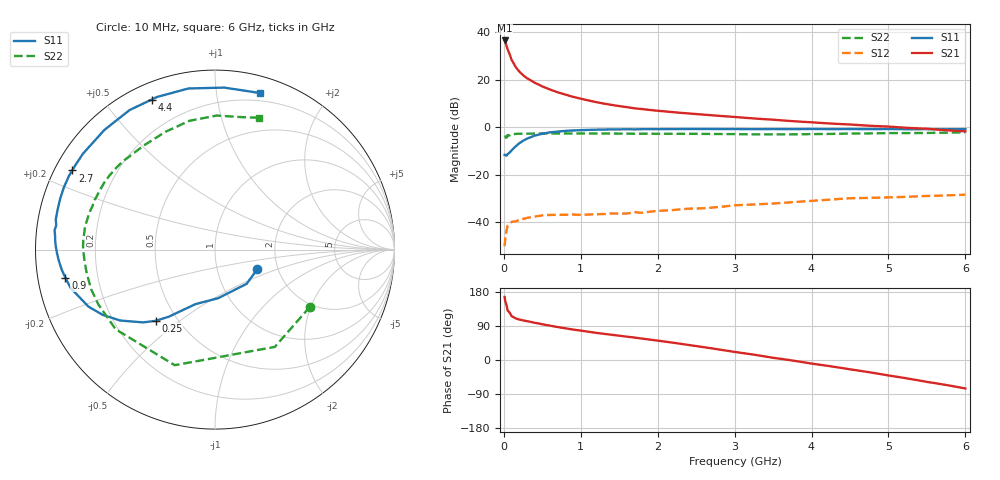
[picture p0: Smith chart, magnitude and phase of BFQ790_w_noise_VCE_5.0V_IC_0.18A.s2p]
! (c) 2015  Infineon Technologies AG, Munich
! Infineon Technologies  Discrete & RF Semiconductors
! BFQ790
! VCE =  5.0 V,  IC = 0.18 A
! Common Emitter S-Parameters:  May 2015
# GHz  S  MA  R  50
!  f  S11  S21  S12  S22
! GHz  MAG  ANG  MAG  ANG  MAG  ANG  MAG  ANG
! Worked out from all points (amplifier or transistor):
!   77 points, 10 MHz to 6 GHz, reference 50 ohm
!   highest |S21| = 36.5 dB at 10 MHz (marker M1)
!   |S21| within 3 dB of that: start of sweep to 41.96 MHz
!   unconditionally stable (mu >= 1): start of sweep to 19.7 MHz; 171.6 MHz to 793.9 MHz; 817.1 MHz to end of sweep
!   at 130 MHz: K = 0.89, MSG = 33.3 dB, |S12| = -39.8 dB
!   at 2.2 GHz: K = 1.29, MAG = 17.4 dB, |S12| = -34.9 dB
!   at 6 GHz: K = 1.16, MAG = 10.9 dB, |S12| = -28.5 dB
!   lowest NFmin = 3.17 dB at 1.5 GHz
!   S11 on the Smith chart (normalised r, x): 10 MHz: 1.56, -0.37; 250 MHz: 0.38, -0.41; 900 MHz: 0.08, -0.09; 2.7 GHz: 0.05, +0.26; 4.4 GHz: 0.07, +0.66; 6 GHz: 0.13, +1.32
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0.01  0.2596 -25.2  66.76 166.4  0.0031 38.2  0.6175 -31.1
0.02  0.2596 -47.2  61.94 153.8  0.0048 45.9  0.6364 -58.4
0.05  0.2713 -86.2  43.05 130.4  0.0085 34.6  0.682 -109.2
0.1  0.3222 -109.6  26.09 115.6  0.0101 22.2  0.7095 -141.3
0.15  0.3872 -118.6  18.72 110.0  0.0103 20.9  0.7179 -154.7
0.2  0.4543 -124.6  14.81 106.8  0.011 21.3  0.7241 -161.9
0.25  0.5156 -129.7  12.39 104.6  0.0116 18.1  0.7248 -166.5
0.3  0.5695 -134.6  10.71 102.5  0.0122 15.3  0.7267 -170.0
0.4  0.6595 -143.2  8.587 98.2  0.013 15.5  0.7295 -175.0
0.5  0.7244 -149.9  7.173 94.3  0.0138 12.5  0.7327 -178.6
0.6  0.7736 -155.8  6.185 90.6  0.0141 13.5  0.7355 178.4
0.7  0.8026 -161.0  5.404 86.9  0.0142 13.4  0.7358 176.0
0.9  0.8481 -169.3  4.336 80.3  0.0144 7.9  0.7342 172.2
1.1  0.8722 -175.9  3.631 74.6  0.0144 10.2  0.7339 168.8
1.5  0.8946 175.0  2.767 64.1  0.015 10.3  0.7282 163.2
2.1  0.9059 163.7  2.132 48.4  0.0175 10.9  0.7222 154.5
2.7  0.9095 151.0  1.773 30.8  0.0201 6.7  0.7161 143.0
3.1  0.9062 141.7  1.585 18.5  0.0229 2.2  0.7068 134.0
4.1  0.9086 119.4  1.229 -12.3  0.0286 -10.5  0.7133 110.5
4.4  0.9075 112.9  1.153 -21.3  0.0309 -15.8  0.7253 103.5
5.1  0.9051 96.8  0.998 -43.9  0.0334 -30.0  0.7461 87.1
6  0.9076 74.0  0.813 -75.2  0.0376 -50.0  0.7748 71.4
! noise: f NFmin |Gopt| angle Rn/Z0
0.45  5.2  0.46  140  0.5
0.9  3.66  0.59  168  0.16
1.5  3.17  0.7  -173  0.09
1.8  3.24  0.71  -167  0.1
2.6  3.51  0.74  -152  0.25
3.5  4.07  0.82  -136  0.56
